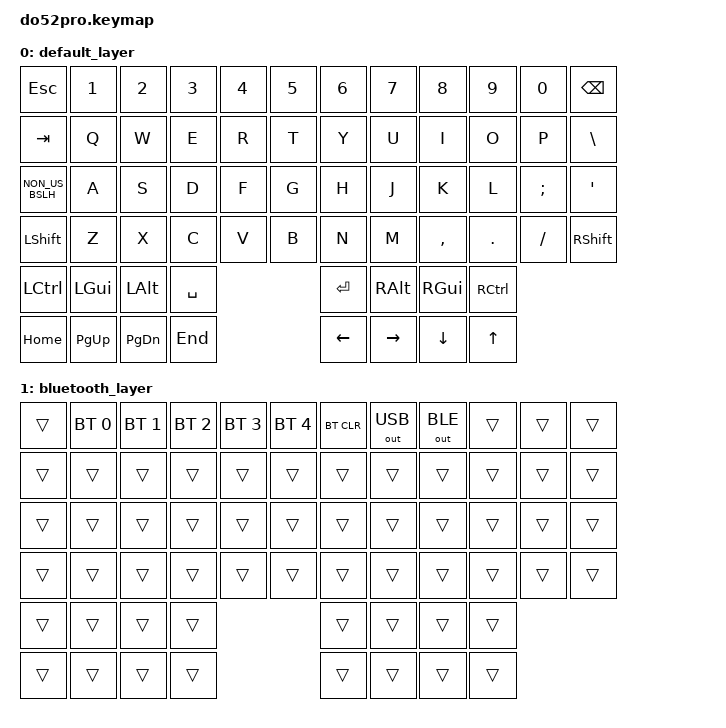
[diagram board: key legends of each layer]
#include <behaviors.dtsi>
#include <dt-bindings/zmk/keys.h>
#include <dt-bindings/zmk/bt.h>
#include <dt-bindings/zmk/outputs.h>

/*
 * Position order (matches the matrix transform):
 *   0-11 row 0 | 12-23 row 1 | 24-35 row 2 | 36-47 row 3
 *   48-55 bottom row: LCTRL(48) LGUI(49) LALT(50) SPACE(51)  SPACE(52) RALT(53) RGUI(54) RCTRL(55)
 *   56-59 left DPAD, 60-63 right DPAD
 *
 * Hold both WIN keys together to get the Bluetooth layer.
 */

/ {
    combos {
        compatible = "zmk,combos";

        combo_bt_layer {
            timeout-ms = <50>;
            key-positions = <49 54>;
            bindings = <&mo 1>;
        };
    };

    keymap {
        compatible = "zmk,keymap";

        default_layer {
            bindings = <
&kp ESC            &kp N1    &kp N2    &kp N3    &kp N4   &kp N5       &kp N6  &kp N7  &kp N8     &kp N9   &kp N0    &kp BSPC
&kp TAB            &kp Q     &kp W     &kp E     &kp R    &kp T        &kp Y   &kp U   &kp I      &kp O    &kp P     &kp BSLH
&kp NON_US_BSLH    &kp A     &kp S     &kp D     &kp F    &kp G        &kp H   &kp J   &kp K      &kp L    &kp SEMI  &kp SQT
&kp LSHFT          &kp Z     &kp X     &kp C     &kp V    &kp B        &kp N   &kp M   &kp COMMA  &kp DOT  &kp FSLH  &kp RSHFT
&kp LCTRL  &kp LGUI  &kp LALT  &kp SPACE                              &kp RET  &kp RALT  &kp RGUI  &kp RCTRL
&kp HOME  &kp PG_UP  &kp PG_DN  &kp END                                &kp LEFT  &kp RIGHT  &kp DOWN  &kp UP
            >;
        };

        bluetooth_layer {
            bindings = <
&trans  &bt BT_SEL 0  &bt BT_SEL 1  &bt BT_SEL 2  &bt BT_SEL 3  &bt BT_SEL 4    &bt BT_CLR  &out OUT_USB  &out OUT_BLE  &trans  &trans  &trans
&trans  &trans  &trans  &trans  &trans  &trans                                   &trans  &trans  &trans  &trans  &trans  &trans
&trans  &trans  &trans  &trans  &trans  &trans                                   &trans  &trans  &trans  &trans  &trans  &trans
&trans  &trans  &trans  &trans  &trans  &trans                                   &trans  &trans  &trans  &trans  &trans  &trans
&trans  &trans  &trans  &trans                                                   &trans  &trans  &trans  &trans
&trans  &trans  &trans  &trans                                                   &trans  &trans  &trans  &trans
            >;
        };
    };
};
